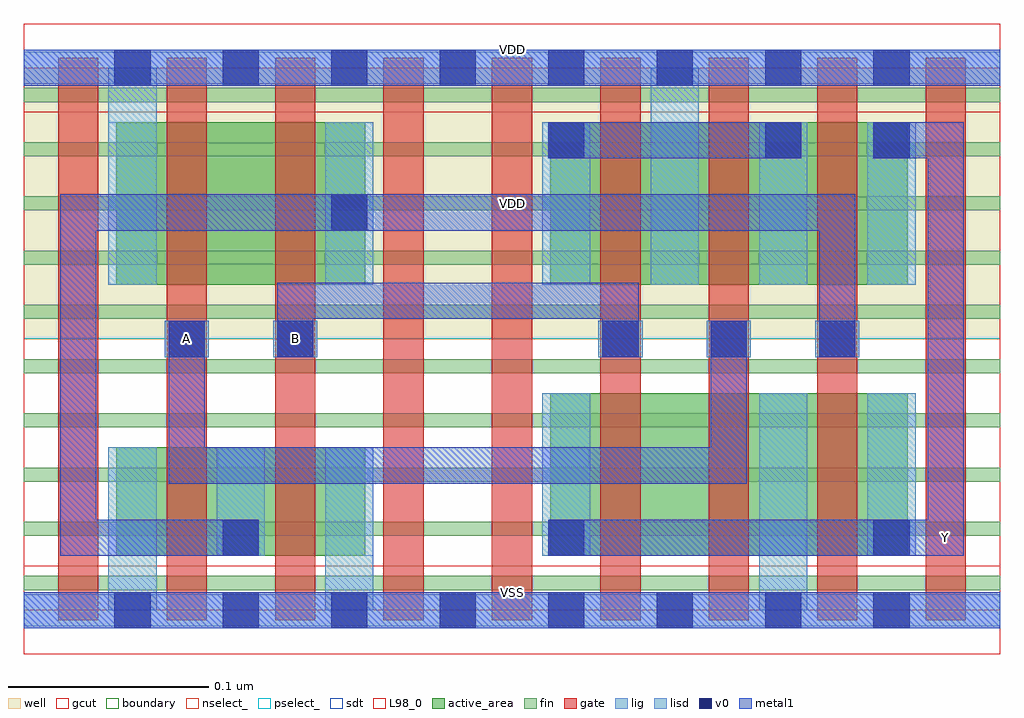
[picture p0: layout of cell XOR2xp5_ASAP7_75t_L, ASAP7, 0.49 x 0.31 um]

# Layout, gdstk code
import gdstk
lib = gdstk.Library(unit=1e-6, precision=2.5e-10)
def R(c, l, rs):  # rectangles x0, y0, x1, y1
    for r in rs: c.add(gdstk.rectangle(r[:2], r[2:], *l))
def A(c, l, x, y, w, h, nx, ny, dx, dy):  # array of equal rectangles
    R(c, l, [(x+i*dx, y+j*dy, x+i*dx+w, y+j*dy+h) for i in range(nx) for j in range(ny)])
def P(c, l, *ps):  # polygons
    for p in ps: c.add(gdstk.Polygon(p, *l))
well = (1, 0)
fin = (2, 0)
gate = (7, 0)
gcut = (10, 0)
active_area = (11, 0)
nselect_ = (12, 0)
pselect_ = (13, 0)
lig = (16, 0)
lisd = (17, 0)
v0 = (18, 0)
metal1 = (19, 0)
sdt = (88, 0)
L98_0 = (98, 0)
boundary = (100, 0)

xor2xp5_asap7_75t_l = lib.new_cell('XOR2xp5_ASAP7_75t_L')
R(xor2xp5_asap7_75t_l, well, [(0,0.135,0.486,0.27)])
A(xor2xp5_asap7_75t_l, fin, 0, 0.01, 0.486, 0.007, 1, 10, 0, 0.027)
A(xor2xp5_asap7_75t_l, gate, 0.017, -0.005, 0.02, 0.28, 9, 1, 0.054, 0)
R(xor2xp5_asap7_75t_l, gcut, [(0,-0.022,0.486,0.022), (0,0.248,0.486,0.292)])
R(xor2xp5_asap7_75t_l, active_area, [(0.046,0.027,0.17,0.081), (0.262,0.027,0.44,0.108), (0.046,0.162,0.17,0.243), (0.262,0.162,0.44,0.243)])
R(xor2xp5_asap7_75t_l, nselect_, [(0,0,0.486,0.135)])
R(xor2xp5_asap7_75t_l, pselect_, [(0,0.135,0.486,0.27)])
A(xor2xp5_asap7_75t_l, lig, 0.286, 0.126, 0.022, 0.018, 3, 1, 0.054, 0)
R(xor2xp5_asap7_75t_l, lig, [(0,-0.008,0.486,0.008), (0.07,0.126,0.092,0.144), (0.124,0.126,0.146,0.144), (0,0.262,0.486,0.278)])
A(xor2xp5_asap7_75t_l, lisd, 0.15, 0.162, 0.024, 0.081, 3, 1, 0.108, 0)
R(xor2xp5_asap7_75t_l, lisd, [(0.042,0,0.066,0.081), (0.042,0,0.066,0.081), (0.15,0,0.174,0.081), (0.15,0,0.174,0.081), (0.366,0,0.39,0.108), (0.366,0,0.39,0.108), (0.096,0.027,0.12,0.081), (0.258,0.027,0.282,0.108), (0.42,0.027,0.444,0.108), (0.042,0.162,0.066,0.27), (0.042,0.162,0.066,0.27), (0.312,0.162,0.336,0.27), (0.312,0.162,0.336,0.27), (0.42,0.162,0.444,0.243)])
A(xor2xp5_asap7_75t_l, v0, 0.045, -0.009, 0.018, 0.018, 8, 2, 0.054, 0.27)
A(xor2xp5_asap7_75t_l, v0, 0.099, 0.027, 0.018, 0.018, 3, 1, 0.162, 0)
A(xor2xp5_asap7_75t_l, v0, 0.288, 0.126, 0.018, 0.018, 3, 1, 0.054, 0)
R(xor2xp5_asap7_75t_l, v0, [(0.072,0.126,0.09,0.144), (0.126,0.126,0.144,0.144), (0.153,0.189,0.171,0.207), (0.261,0.225,0.279,0.243), (0.369,0.225,0.387,0.243), (0.423,0.225,0.441,0.243)])
A(xor2xp5_asap7_75t_l, metal1, 0.099, 0.027, 0.018, 0.018, 3, 1, 0.162, 0)
A(xor2xp5_asap7_75t_l, metal1, 0.288, 0.126, 0.018, 0.018, 3, 1, 0.054, 0)
R(xor2xp5_asap7_75t_l, metal1, [(0,-0.009,0.486,0.009), (0.072,0.126,0.09,0.144), (0.126,0.126,0.144,0.144), (0.153,0.189,0.171,0.207), (0.261,0.225,0.279,0.243), (0.261,0.225,0.387,0.243), (0.369,0.225,0.387,0.243), (0.423,0.225,0.441,0.243), (0,0.261,0.486,0.279)])
P(xor2xp5_asap7_75t_l, metal1, [(0.342,0.144),(0.342,0.081),(0.09,0.081),(0.09,0.144),(0.072,0.144),(0.072,0.063),(0.36,0.063),(0.36,0.144)],
  [(0.414,0.126),(0.414,0.207),(0.018,0.207),(0.018,0.027),(0.117,0.027),(0.117,0.045),(0.036,0.045),(0.036,0.189),(0.396,0.189),(0.396,0.126)],
  [(0.288,0.126),(0.306,0.126),(0.306,0.163),(0.126,0.163),(0.126,0.126),(0.144,0.126),(0.144,0.145),(0.288,0.145)],
  [(0.423,0.243),(0.423,0.225),(0.45,0.225),(0.45,0.045),(0.261,0.045),(0.261,0.027),(0.468,0.027),(0.468,0.243)])
A(xor2xp5_asap7_75t_l, sdt, 0.042, 0.027, 0.024, 0.054, 3, 1, 0.054, 0)
A(xor2xp5_asap7_75t_l, sdt, 0.042, 0.162, 0.024, 0.081, 3, 1, 0.108, 0)
A(xor2xp5_asap7_75t_l, sdt, 0.312, 0.162, 0.024, 0.081, 3, 1, 0.054, 0)
R(xor2xp5_asap7_75t_l, sdt, [(0.042,0.027,0.066,0.081), (0.15,0.027,0.174,0.081), (0.258,0.027,0.282,0.108), (0.366,0.027,0.39,0.108), (0.366,0.027,0.39,0.108), (0.42,0.027,0.444,0.108), (0.042,0.162,0.066,0.243), (0.312,0.162,0.336,0.243)])
R(xor2xp5_asap7_75t_l, L98_0, [(0,0,0.486,0.27)])
R(xor2xp5_asap7_75t_l, boundary, [(0,0,0.486,0.27)])
xor2xp5_asap7_75t_l.add(gdstk.Label('VDD', (0.243,0.2025), layer=1, texttype=251))
xor2xp5_asap7_75t_l.add(gdstk.Label('VSS', (0.243,-0.0675), layer=3, texttype=251))
xor2xp5_asap7_75t_l.add(gdstk.Label('VSS', (0.243,0.009), layer=19, texttype=251))
xor2xp5_asap7_75t_l.add(gdstk.Label('VDD', (0.243,0.279), layer=19, texttype=251))
xor2xp5_asap7_75t_l.add(gdstk.Label('A', (0.081,0.135), layer=19, texttype=251))
xor2xp5_asap7_75t_l.add(gdstk.Label('B', (0.135,0.135), layer=19, texttype=251))
xor2xp5_asap7_75t_l.add(gdstk.Label('Y', (0.459,0.036), layer=19, texttype=251))

lib.write_gds('XOR2xp5_ASAP7_75t_L.gds')
